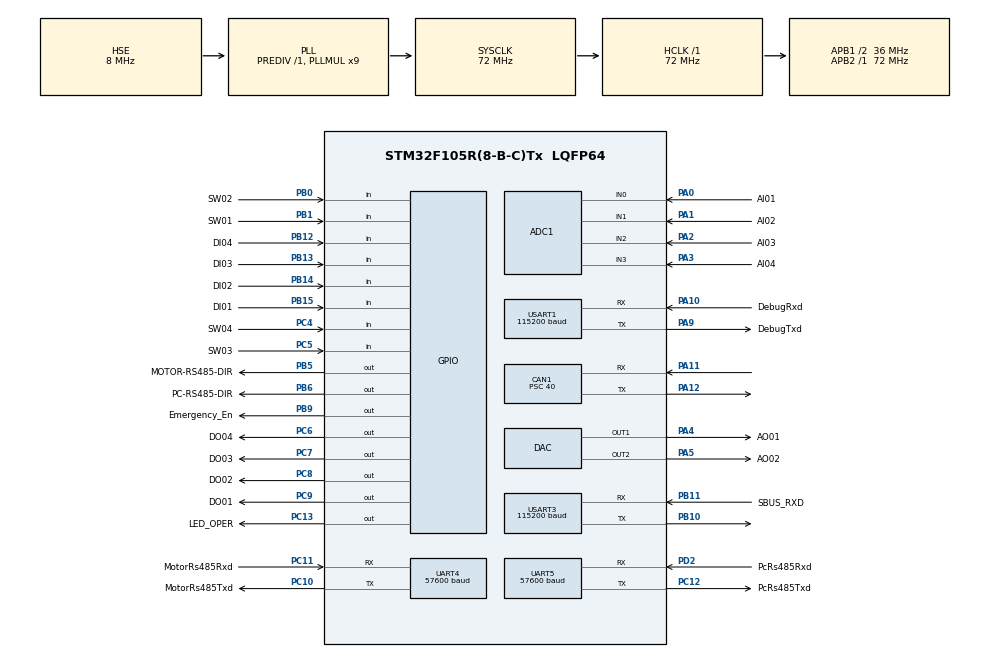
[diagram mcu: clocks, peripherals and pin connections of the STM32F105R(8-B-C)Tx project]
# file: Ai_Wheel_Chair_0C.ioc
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ADC1.Channel-0\#ChannelRegularConversion=ADC_CHANNEL_0
ADC1.Channel-1\#ChannelRegularConversion=ADC_CHANNEL_1
ADC1.Channel-2\#ChannelRegularConversion=ADC_CHANNEL_2
ADC1.Channel-3\#ChannelRegularConversion=ADC_CHANNEL_3
ADC1.ContinuousConvMode=DISABLE
ADC1.DiscontinuousConvMode=ENABLE
ADC1.NbrOfConversion=4
ADC1.NbrOfConversionFlag=1
ADC1.Rank-0\#ChannelRegularConversion=1
ADC1.Rank-1\#ChannelRegularConversion=2
ADC1.Rank-2\#ChannelRegularConversion=3
ADC1.Rank-3\#ChannelRegularConversion=4
ADC1.SamplingTime-0\#ChannelRegularConversion=ADC_SAMPLETIME_13CYCLES_5
ADC1.SamplingTime-1\#ChannelRegularConversion=ADC_SAMPLETIME_13CYCLES_5
ADC1.SamplingTime-2\#ChannelRegularConversion=ADC_SAMPLETIME_13CYCLES_5
ADC1.SamplingTime-3\#ChannelRegularConversion=ADC_SAMPLETIME_13CYCLES_5
ADC1.master=1
CAN1.BS1=CAN_BS1_15TQ
CAN1.BS2=CAN_BS2_2TQ
CAN1.CalculateBaudRate=50000
CAN1.CalculateTimeBit=20000
CAN1.CalculateTimeQuantum=1111.111111111111
CAN1.Prescaler=40
Dma.ADC1.0.Direction=DMA_PERIPH_TO_MEMORY
Dma.ADC1.0.Instance=DMA1_Channel1
Dma.ADC1.0.MemDataAlignment=DMA_MDATAALIGN_WORD
Dma.ADC1.0.MemInc=DMA_MINC_ENABLE
Dma.ADC1.0.Mode=DMA_CIRCULAR
Dma.ADC1.0.PeriphDataAlignment=DMA_PDATAALIGN_WORD
Dma.ADC1.0.PeriphInc=DMA_PINC_DISABLE
Dma.ADC1.0.Priority=DMA_PRIORITY_LOW
Dma.Request0=ADC1
Mcu.Family=STM32F1
Mcu.Name=STM32F105R(8-B-C)Tx
Mcu.Package=LQFP64
NVIC.CAN1_RX0_IRQn=true\:0\:0\:false\:false\:true\:true\:true\:true
NVIC.CAN1_TX_IRQn=true\:0\:0\:false\:false\:true\:true\:true\:true
NVIC.DMA1_Channel1_IRQn=true\:0\:0\:false\:false\:true\:false\:true\:true
NVIC.PriorityGroup=NVIC_PRIORITYGROUP_4
NVIC.TIM6_IRQn=true\:0\:0\:false\:false\:true\:true\:true\:true
NVIC.UART4_IRQn=true\:0\:0\:false\:false\:true\:true\:true\:true
NVIC.UART5_IRQn=true\:0\:0\:false\:false\:true\:true\:true\:true
NVIC.USART1_IRQn=true\:0\:0\:false\:false\:true\:true\:true\:true
NVIC.USART3_IRQn=true\:0\:0\:false\:false\:true\:true\:true\:true
PA0-WKUP.GPIO_Label=AI01
PA0-WKUP.Signal=ADCx_IN0
PA1.GPIO_Label=AI02
PA1.Signal=ADCx_IN1
PA10.GPIO_Label=DebugRxd
PA10.Mode=Asynchronous
PA10.Signal=USART1_RX
PA11.Mode=CAN_Activate
PA11.Signal=CAN1_RX
PA12.Mode=CAN_Activate
PA12.Signal=CAN1_TX
PA2.GPIO_Label=AI03
PA2.Signal=ADCx_IN2
PA3.GPIO_Label=AI04
PA3.Signal=ADCx_IN3
PA4.GPIO_Label=AO01
PA4.Signal=COMP_DAC1_group
PA5.GPIO_Label=AO02
PA5.Signal=COMP_DAC2_group
PA9.GPIO_Label=DebugTxd
PA9.Mode=Asynchronous
PA9.Signal=USART1_TX
PB0.GPIO_Label=SW02
PB0.GPIO_PuPd=GPIO_PULLUP
PB0.Signal=GPIO_Input
PB1.GPIO_Label=SW01
PB1.GPIO_PuPd=GPIO_PULLUP
PB1.Signal=GPIO_Input
PB10.Mode=Asynchronous
PB10.Signal=USART3_TX
PB11.GPIO_Label=SBUS_RXD
PB11.Mode=Asynchronous
PB11.Signal=USART3_RX
PB12.GPIO_Label=DI04
PB12.GPIO_PuPd=GPIO_PULLUP
PB12.Signal=GPIO_Input
PB13.GPIO_Label=DI03
PB13.GPIO_PuPd=GPIO_PULLUP
PB13.Signal=GPIO_Input
PB14.GPIO_Label=DI02
PB14.GPIO_PuPd=GPIO_PULLUP
PB14.Signal=GPIO_Input
PB15.GPIO_Label=DI01
PB15.GPIO_PuPd=GPIO_PULLUP
PB15.Signal=GPIO_Input
PB5.GPIO_Label=MOTOR-RS485-DIR
PB5.GPIO_PuPd=GPIO_NOPULL
PB5.Signal=GPIO_Output
PB6.GPIO_Label=PC-RS485-DIR
PB6.Signal=GPIO_Output
PB9.GPIO_Label=Emergency_En
PB9.Signal=GPIO_Output
PC10.GPIO_Label=MotorRs485Txd
PC10.Mode=Asynchronous
PC10.Signal=UART4_TX
PC11.GPIO_Label=MotorRs485Rxd
PC11.Mode=Asynchronous
PC11.Signal=UART4_RX
PC12.GPIO_Label=PcRs485Txd
PC12.Mode=Asynchronous
PC12.Signal=UART5_TX
PC13-TAMPER-RTC.GPIO_Label=LED_OPER
PC13-TAMPER-RTC.Signal=GPIO_Output
PC4.GPIO_Label=SW04
PC4.GPIO_PuPd=GPIO_PULLUP
PC4.Signal=GPIO_Input
PC5.GPIO_Label=SW03
PC5.GPIO_PuPd=GPIO_PULLUP
PC5.Signal=GPIO_Input
PC6.GPIO_Label=DO04
PC6.GPIO_PuPd=GPIO_PULLDOWN
PC6.PinState=GPIO_PIN_SET
PC6.Signal=GPIO_Output
PC7.GPIO_Label=DO03
PC7.GPIO_PuPd=GPIO_PULLDOWN
PC7.PinState=GPIO_PIN_SET
PC7.Signal=GPIO_Output
PC8.GPIO_Label=DO02
PC8.GPIO_PuPd=GPIO_PULLDOWN
PC8.PinState=GPIO_PIN_SET
PC8.Signal=GPIO_Output
PC9.GPIO_Label=DO01
PC9.GPIO_PuPd=GPIO_PULLDOWN
PC9.PinState=GPIO_PIN_SET
PC9.Signal=GPIO_Output
PD0-OSC_IN.Mode=HSE-External-Oscillator
PD0-OSC_IN.Signal=RCC_OSC_IN
PD1-OSC_OUT.Mode=HSE-External-Oscillator
PD1-OSC_OUT.Signal=RCC_OSC_OUT
PD2.GPIO_Label=PcRs485Rxd
PD2.Mode=Asynchronous
PD2.Signal=UART5_RX
ProjectManager.HeapSize=0x200
ProjectManager.StackSize=0x400
ProjectManager.TargetToolchain=MDK-ARM V5
RCC.AHBFreq_Value=72000000
RCC.APB1CLKDivider=RCC_HCLK_DIV2
RCC.APB1Freq_Value=36000000
RCC.APB1TimFreq_Value=72000000
RCC.APB2Freq_Value=72000000
RCC.APB2TimFreq_Value=72000000
RCC.HCLKFreq_Value=72000000
RCC.PLLMUL=RCC_PLL_MUL9
RCC.PLLSourceVirtual=RCC_PLLSOURCE_HSE
RCC.SYSCLKFreq_VALUE=72000000
RCC.SYSCLKSource=RCC_SYSCLKSOURCE_PLLCLK
RCC.USBFreq_Value=48000000
SH.ADCx_IN0.0=ADC1_IN0,IN0
SH.ADCx_IN1.0=ADC1_IN1,IN1
SH.ADCx_IN2.0=ADC1_IN2,IN2
SH.ADCx_IN3.0=ADC1_IN3,IN3
SH.COMP_DAC1_group.0=DAC_OUT1,DAC_OUT1
SH.COMP_DAC2_group.0=DAC_OUT2,DAC_OUT2
TIM6.Period=100-1
TIM6.Prescaler=3600
UART4.BaudRate=57600
UART4.Parity=PARITY_EVEN
UART4.StopBits=UART_STOPBITS_1
UART4.VirtualMode=Asynchronous
UART4.WordLength=WORDLENGTH_9B
UART5.BaudRate=57600
UART5.Mode=MODE_RX
UART5.Parity=PARITY_NONE
UART5.StopBits=UART_STOPBITS_1
UART5.VirtualMode=Asynchronous
UART5.WordLength=WORDLENGTH_8B
USART1.BaudRate=115200
USART1.VirtualMode=VM_ASYNC
USART1.WordLength=WORDLENGTH_9B
USART3.BaudRate=115200
USART3.Parity=PARITY_NONE
USART3.StopBits=STOPBITS_1
USART3.VirtualMode=VM_ASYNC
USART3.WordLength=WORDLENGTH_9B
VP_SYS_VS_ND.Mode=No_Debug
VP_TIM6_VS_ClockSourceINT.Mode=Enable_Timer
board=custom

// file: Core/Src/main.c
/* USER CODE BEGIN Header */
/**
  ******************************************************************************
  * @file           : main.c
  * @brief          : Main program body
  ******************************************************************************
  * @attention
  *
  * Copyright (c) 2023 STMicroelectronics.
  * All rights reserved.
  *
  * This software is licensed under terms that can be found in the LICENSE file
  * in the root directory of this software component.
  * If no LICENSE file comes with this software, it is provided AS-IS.
  *
  ******************************************************************************
  */
/* USER CODE END Header */
#include "main.h"
#include "adc.h"
#include "can.h"
#include "dac.h"
#include "dma.h"
#include "tim.h"
#include "usart.h"
#include "gpio.h"

/* USER CODE BEGIN Includes */
#include <stdio.h>

/* USER CODE END Includes */

/* USER CODE BEGIN PM */
#ifdef __GNUC__
  /* With GCC/RAISONANCE, small printf (option LD Linker->Libraries->Small printf
     set to 'Yes') calls __io_putchar() */
  #define PUTCHAR_PROTOTYPE int __io_putchar(int ch)
#else
  #define PUTCHAR_PROTOTYPE int fputc(int ch, FILE *f)
#endif /* __GNUC__ */
/**
  * @brief  Retargets the C library printf function to the USART.
  * @param  None
  * @retval None
  */
PUTCHAR_PROTOTYPE
{
  /* Place your implementation of fputc here */
  /* e.g. write a character to the EVAL_COM1 and Loop until the end of transmission */
  HAL_UART_Transmit(&huart1, (uint8_t *)&ch, 1, 0xFFFF);

  return ch;
}
/* USER CODE END PM */

/* USER CODE BEGIN PV */
SerialType serialtype;
RemoteType remotetype;
LocalMode localmode;
AutoRemoteMode autoremotemode;
/* USER CODE END PV */

void SystemClock_Config(void);

/* USER CODE BEGIN 0 */
int __io_putchar (int ch)
{
  (void)HAL_UART_Transmit(&huart1, (uint8_t *)&ch, 1, 100);
  return ch;
}
/* USER CODE END 0 */

int main(void)
{

  /* MCU Configuration--------------------------------------------------------*/

  /* Reset of all peripherals, Initializes the Flash interface and the Systick. */
  HAL_Init();

  /* Configure the system clock */
  SystemClock_Config();

  /* Initialize all configured peripherals */
  MX_GPIO_Init();
  MX_DMA_Init();
  MX_CAN1_Init();
  MX_UART4_Init();
  MX_UART5_Init();
  MX_USART1_UART_Init();
  MX_USART3_UART_Init();
  MX_TIM6_Init();
  MX_ADC1_Init();
  MX_DAC_Init();
  /* USER CODE BEGIN 2 */
  HAL_TIM_Base_Start_IT(&htim6);
  HAL_UART_Receive_IT (&huart1, &buff, 1);
  HAL_UART_Receive_IT (&huart3, &buff, 1);
  HAL_UART_Receive_IT (&huart4, &buff, 1);
  HAL_UART_Receive_IT (&huart5, &buff, 1);
	//HAL_ADC_Start_DMA(&hadc1, &adc_dma.ADC_val[0], ADC_MAX_CH);

  Usart_Init();
  Can_Initial();
  /* USER CODE END 2 */

  /* Infinite loop */
  while (1)
  {

    /* USER CODE BEGIN 3 */
	  serialtype.bSerialType = SW01;
	  remotetype.bRemoteType = SW04;
		//Local Mode H/W Switch
		localmode.bLocalMode = !DI01;
		//Auto - Remote Mode H/W Switch
		autoremotemode.bAutoRemoteMode = !DI02;

		//Local == 0 && AutoRemote == 0 -> Joystick
		//Local == 0 && AutoRemote == 1 -> Remote
		//Local == 1 && AutoRemote == 0 -> Auto
    //Local == 1 && AutoRemote == 1 -> Nothing

	  //?��리얼 ?��?��?��
	  DataGetFlowProcess(COM1);
	  DataGetFlowProcess(COM3);
	  DataGetFlowProcess(COM4);
	  DataGetFlowProcess(COM5);

	  GetADCFlowProcess();

  }
  /* USER CODE END 3 */
}

void SystemClock_Config(void)
{
  RCC_OscInitTypeDef RCC_OscInitStruct = {0};
  RCC_ClkInitTypeDef RCC_ClkInitStruct = {0};
  RCC_PeriphCLKInitTypeDef PeriphClkInit = {0};

  /** Initializes the RCC Oscillators according to the specified parameters
  * in the RCC_OscInitTypeDef structure.
  */
  RCC_OscInitStruct.OscillatorType = RCC_OSCILLATORTYPE_HSE;
  RCC_OscInitStruct.HSEState = RCC_HSE_ON;
  RCC_OscInitStruct.HSEPredivValue = RCC_HSE_PREDIV_DIV1;
  RCC_OscInitStruct.HSIState = RCC_HSI_ON;
  RCC_OscInitStruct.Prediv1Source = RCC_PREDIV1_SOURCE_HSE;
  RCC_OscInitStruct.PLL.PLLState = RCC_PLL_ON;
  RCC_OscInitStruct.PLL.PLLSource = RCC_PLLSOURCE_HSE;
  RCC_OscInitStruct.PLL.PLLMUL = RCC_PLL_MUL9;
  RCC_OscInitStruct.PLL2.PLL2State = RCC_PLL_NONE;
  if (HAL_RCC_OscConfig(&RCC_OscInitStruct) != HAL_OK)
  {
    Error_Handler();
  }

  /** Initializes the CPU, AHB and APB buses clocks
  */
  RCC_ClkInitStruct.ClockType = RCC_CLOCKTYPE_HCLK|RCC_CLOCKTYPE_SYSCLK
                              |RCC_CLOCKTYPE_PCLK1|RCC_CLOCKTYPE_PCLK2;
  RCC_ClkInitStruct.SYSCLKSource = RCC_SYSCLKSOURCE_PLLCLK;
  RCC_ClkInitStruct.AHBCLKDivider = RCC_SYSCLK_DIV1;
  RCC_ClkInitStruct.APB1CLKDivider = RCC_HCLK_DIV2;
  RCC_ClkInitStruct.APB2CLKDivider = RCC_HCLK_DIV1;

  if (HAL_RCC_ClockConfig(&RCC_ClkInitStruct, FLASH_LATENCY_2) != HAL_OK)
  {
    Error_Handler();
  }
  PeriphClkInit.PeriphClockSelection = RCC_PERIPHCLK_ADC;
  PeriphClkInit.AdcClockSelection = RCC_ADCPCLK2_DIV2;
  if (HAL_RCCEx_PeriphCLKConfig(&PeriphClkInit) != HAL_OK)
  {
    Error_Handler();
  }

  /** Configure the Systick interrupt time
  */
  __HAL_RCC_PLLI2S_ENABLE();
}

void Error_Handler(void)
{
  __disable_irq();
  while (1)
  {
  }
}
